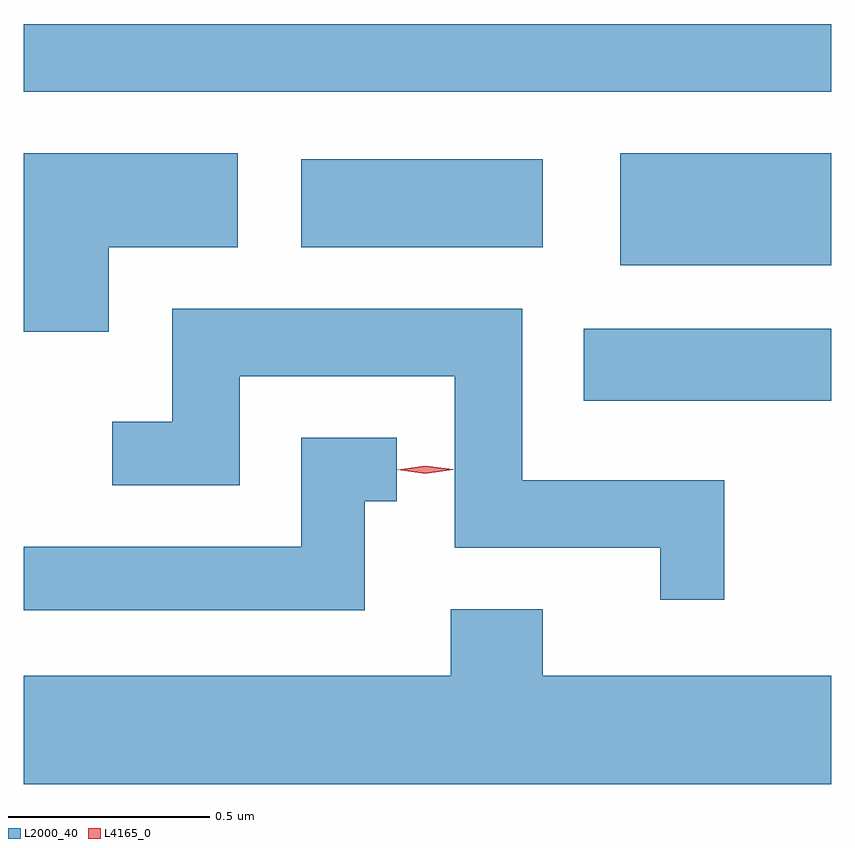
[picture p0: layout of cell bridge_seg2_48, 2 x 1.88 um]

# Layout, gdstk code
import gdstk
lib = gdstk.Library(unit=1e-6, precision=1e-09)
def R(c, l, rs):  # rectangles x0, y0, x1, y1
    for r in rs: c.add(gdstk.rectangle(r[:2], r[2:], *l))
def P(c, l, *ps):  # polygons
    for p in ps: c.add(gdstk.Polygon(p, *l))
L2000_40 = (2000, 40)
L4165_0 = (4165, 0)

bridge_seg2_48 = lib.new_cell('bridge_seg2_48')
R(bridge_seg2_48, L2000_40, [(1422.211,1053.706,1422.824,1053.884), (1422.301,1054.041,1422.824,1054.319), (1421.511,1054.086,1422.109,1054.304), (1420.824,1054.471,1422.824,1054.639)])
P(bridge_seg2_48, L2000_40, [(1421.034,1054.086),(1421.354,1054.086),(1421.354,1054.319),(1420.824,1054.319),(1420.824,1053.876),(1421.034,1053.876)],
  [(1422.559,1053.509),(1422.059,1053.509),(1422.059,1053.934),(1421.191,1053.934),(1421.191,1053.654),(1421.043,1053.654),(1421.043,1053.496),(1421.359,1053.496),(1421.359,1053.766),(1421.891,1053.766),(1421.891,1053.341),(1422.401,1053.341),(1422.401,1053.213),(1422.559,1053.213)],
  [(1421.669,1053.456),(1421.748,1053.456),(1421.748,1053.614),(1421.511,1053.614),(1421.511,1053.344),(1420.824,1053.344),(1420.824,1053.186),(1421.669,1053.186)],
  [(1422.824,1053.024),(1422.109,1053.024),(1422.109,1053.189),(1421.881,1053.189),(1421.881,1053.024),(1420.824,1053.024),(1420.824,1052.756),(1422.824,1052.756)])
P(bridge_seg2_48, L4165_0, [(1421.818,1053.525),(1421.749,1053.534),(1421.749,1053.535),(1421.749,1053.535),(1421.818,1053.545),(1421.888,1053.536),(1421.888,1053.536),(1421.888,1053.535)])

lib.write_gds('bridge_seg2_48.gds')
